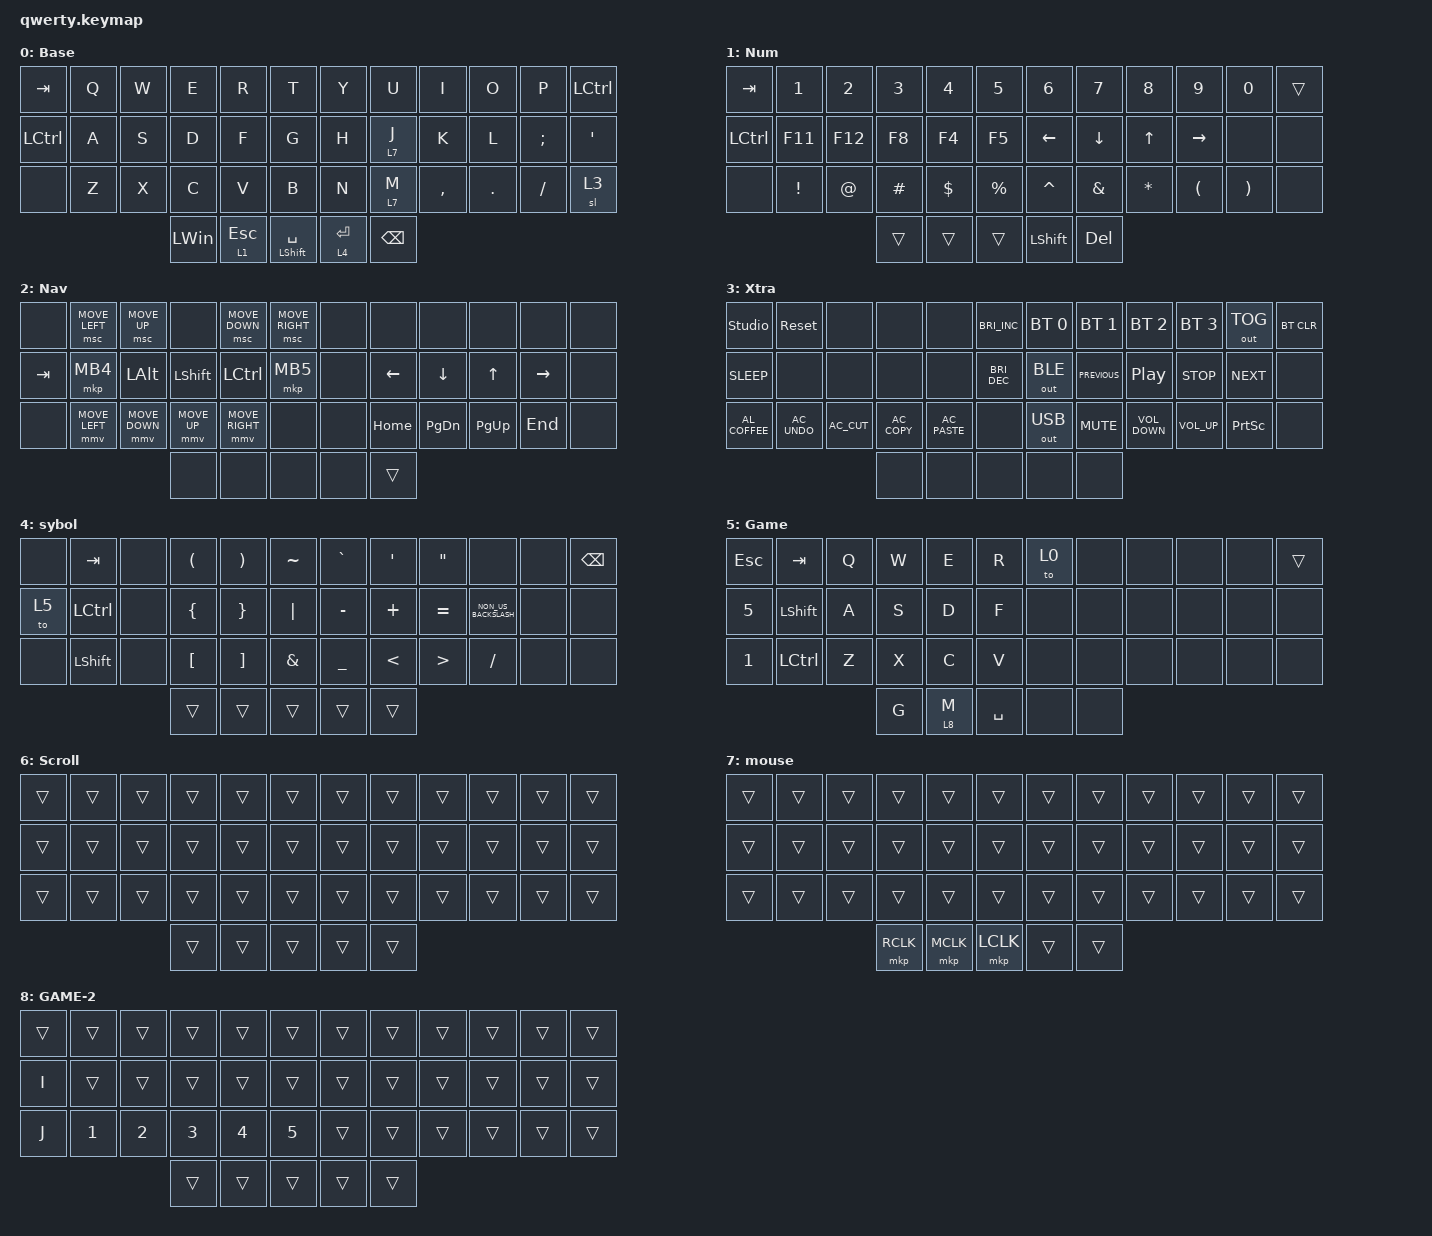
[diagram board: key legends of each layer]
/* upstream bindings and behaviors */

#include <dt-bindings/zmk/mouse.h>
#include <behaviors/mouse_keys.dtsi>
#include <behaviors.dtsi>
#include <dt-bindings/zmk/bt.h>
#include <dt-bindings/zmk/keys.h>
#include <dt-bindings/zmk/outputs.h>
#include <dt-bindings/zmk/pointing.h>

/* local overlays */

/ {
    /* --- KEYMAP CONFIG --- */
    // ╭──────┬──────┬──────┬──────┬──────┬──────╮  ╭──────┬──────┬──────┬──────┬──────┬──────╮
    //    00     01     02     03    04      05        06     07     08     09     10     11
    // ├──────┼──────┼──────┼──────┼──────┼──────┤  ├──────┼──────┼──────┼──────┼──────┼──────┤
    //    12     13     14     15    16      17        18     19     20     21     22     23
    // ├──────┼──────┼──────┼──────┼──────┼──────┤  ├──────┼──────┼──────┼──────┼──────┼──────┤
    //    24     25     26     27    28      29        30     31     32     33     34     35
    // ╰──────┴──────┴──────┼──────┼──────┼──────┤  ├──────┼──────┼──────┴──────┴──────┴──────╯
    //                         36     37     38        39     40
    //                      ╰──────┴──────┴──────╯  ╰──────┴──────╯
    // #define BASE    0
    // #define NUM     1
    // #define NAV     2
    // #define SYM     3
    // #define GAME    4
    // #define EXTRAS  5
    // #define SLOW    6
    // #define SCROLL  7
    // #define mouse   8

    #define KEYS_L 0 1 2 3 4 5 12 13 14 15 16 17 24 25 26 27 28 29 36 37 38 19 20 21 22  // Left-hand keys.
#define KEYS_R 6 7 8 9 10 11 18 19 20 21 22 23 30 31 32 33 34 35 39 40 16 15 14 13  // Right-hand keys.
#define THUMBS 36 37 38 39 40  // Thumb keys.
    behaviors {
        // ht_num_func: homerow_mod {
        //     compatible = "zmk,behavior-hold-tap";
        //     #binding-cells = <2>;
        //     flavor = "tap-preferred";
        //     tapping-term-ms = <260>; // triggers the hold behavior when the tapping-term-ms has expired
        //     quick-tap-ms = <220>; // If you press a tapped hold-tap again within quick-tap-ms milliseconds of the first press, it will always trigger the tap behavior.
        //     require-prior-idle-ms = <185>; // like quick-tap-ms however it will apply for any non-modifier key pressed before it
        //     bindings = <&kp>, <&kp>;  // hold, tap
        // };

        mm_f1: num_or_f1 {
            compatible = "zmk,behavior-mod-morph";
            #binding-cells = <0>;
            bindings = <&kp N1>, <&kp F1>;

            mods = <MOD_LSFT>;
        };

        mm_f2: num_or_f2 {
            compatible = "zmk,behavior-mod-morph";
            #binding-cells = <0>;
            bindings = <&kp N2>, <&kp F2>;

            mods = <MOD_LSFT>;
        };

        mm_f3: num_or_f3 {
            compatible = "zmk,behavior-mod-morph";
            #binding-cells = <0>;
            bindings = <&kp N3>, <&kp F3>;

            mods = <MOD_LSFT>;
        };

        mm_f4: num_or_f4 {
            compatible = "zmk,behavior-mod-morph";
            #binding-cells = <0>;
            bindings = <&kp N4>, <&kp F4>;

            mods = <MOD_LSFT>;
        };

        mm_f5: num_or_f5 {
            compatible = "zmk,behavior-mod-morph";
            #binding-cells = <0>;
            bindings = <&kp N5>, <&kp F5>;

            mods = <MOD_LSFT>;
        };

        mm_f6: num_or_f6 {
            compatible = "zmk,behavior-mod-morph";
            #binding-cells = <0>;
            bindings = <&kp N6>, <&kp F6>;

            mods = <MOD_LSFT>;
        };

        mm_f7: num_or_f7 {
            compatible = "zmk,behavior-mod-morph";
            #binding-cells = <0>;
            bindings = <&kp N7>, <&kp F7>;

            mods = <MOD_LSFT>;
        };

        mm_f8: num_or_f8 {
            compatible = "zmk,behavior-mod-morph";
            #binding-cells = <0>;
            bindings = <&kp N8>, <&kp F8>;

            mods = <MOD_LSFT>;
        };

        mm_f9: num_or_f9 {
            compatible = "zmk,behavior-mod-morph";
            #binding-cells = <0>;
            bindings = <&kp N9>, <&kp F9>;

            mods = <MOD_LSFT>;
        };

        mm_f10: pct_or_f10 {
            compatible = "zmk,behavior-mod-morph";
            #binding-cells = <0>;
            bindings = <&kp PRCNT>, <&kp F10>;

            mods = <MOD_LSFT>;
        };

        mm_f11: asterisk_or_f11 {
            compatible = "zmk,behavior-mod-morph";
            #binding-cells = <0>;
            bindings = <&kp ASTRK>, <&kp F11>;

            mods = <MOD_LSFT>;
        };

        mm_f12: dot_or_f12 {
            compatible = "zmk,behavior-mod-morph";
            #binding-cells = <0>;
            bindings = <&kp DOT>, <&kp F12>;

            mods = <MOD_LSFT>;
        };

        // Left-hand HRM

        ht_left: left_side_homerow_mod {
            compatible = "zmk,behavior-hold-tap";
            #binding-cells = <2>;
            flavor = "balanced";
            tapping-term-ms = <280>;
            quick-tap-ms = <160>;
            require-prior-idle-ms = <65>;
            retro-tap;
            bindings = <&kp>, <&kp>;

            hold-trigger-key-positions = <KEYS_R THUMBS>;
        };

        // Right-hand HRM

        ht_right: right_side_homerow_mod {
            compatible = "zmk,behavior-hold-tap";
            #binding-cells = <2>;
            flavor = "balanced";
            tapping-term-ms = <280>;
            quick-tap-ms = <160>;
            require-prior-idle-ms = <55>;
            retro-tap;
            bindings = <&kp>, <&kp>;

            hold-trigger-key-positions = <KEYS_L THUMBS>;
        };

        td_esc_scrl_slow: td_esc_scrl_slow {
            compatible = "zmk,behavior-tap-dance";
            #binding-cells = <0>;
            tapping-term-ms = <150>;
            bindings = <&lt 5 ESC>, <&mo 3>;

            // hold, tap, double_tap
        };

        lt_nav: nav_layer_tap {
            compatible = "zmk,behavior-hold-tap";
            #binding-cells = <2>;
            flavor = "tap-preferred";
            tapping-term-ms = <170>;
            bindings = <&mo>, <&kp>;
        };

        td_space_nav: td_space {
            compatible = "zmk,behavior-tap-dance";
            #binding-cells = <0>;
            tapping-term-ms = <110>;
            bindings = <&lt_nav 2 SPACE>, <&kp SPACE>;

            // hold, tap, double_tap
        };

        mo_clk: mo_click {
            compatible = "zmk,behavior-hold-tap";
            #binding-cells = <2>;
            flavor = "hold-preferred";
            tapping-term-ms = <40>;
            hold-while-undecided;
            bindings = <&mo>, <&mkp>;
        };

        td_clk: td_clk {
            compatible = "zmk,behavior-tap-dance";
            #binding-cells = <0>;
            tapping-term-ms = <170>;
            bindings = <&mo_clk 0 LCLK>, <&mkp LCLK>;

            // hold, tap, double_tap
        };

        mo_kp: mo_kp {
            compatible = "zmk,behavior-hold-tap";
            #binding-cells = <2>;
            flavor = "hold-preferred";
            tapping-term-ms = <40>;
            hold-while-undecided;
            bindings = <&mo>, <&kp>;
        };

        td_bs: td_bs {
            compatible = "zmk,behavior-tap-dance";
            #binding-cells = <0>;
            tapping-term-ms = <170>;
            bindings = <&mo_kp 1 BACKSPACE>, <&kp BACKSPACE>;

            // hold, tap, double_tap
        };

        httl: ht_two_layers {
            compatible = "zmk,behavior-hold-tap";
            bindings = <&mo>, <&to>;

            #binding-cells = <2>;
            flavor = "balanced";
            tapping-term-ms = <125>;
        };

        td_layers: td_layer_swap {
            compatible = "zmk,behavior-tap-dance";
            #binding-cells = <0>;
            bindings = <&to 0>, <&to 4>;

            // tap, double_tap
        };

        td_clk_scrl: td_click_or_scroll {
            compatible = "zmk,behavior-tap-dance";
            #binding-cells = <0>;
            tapping-term-ms = <250>;
            bindings = <&mkp RCLK>, <&mo 0>;

            // tap/hold, double_tap
        };

        td_bore: BASE_or_EXTRA {
            compatible = "zmk,behavior-tap-dance";
            #binding-cells = <0>;
            bindings = <&mo 0>, <&to 0>;
        };

        mm_qm_ex: question_exclamation {
            compatible = "zmk,behavior-mod-morph";
            #binding-cells = <0>;
            bindings = <&kp QUESTION>, <&kp EXCLAMATION>;

            mods = <(MOD_LSFT | MOD_RSFT)>;
        };

        mm_pr_col: period_colon {
            compatible = "zmk,behavior-mod-morph";
            #binding-cells = <0>;
            bindings = <&kp PERIOD>, <&kp COLON>;

            mods = <(MOD_LSFT | MOD_RSFT)>;
        };

        mm_cm_sc: comma_semi_colon {
            compatible = "zmk,behavior-mod-morph";
            #binding-cells = <0>;
            bindings = <&kp COMMA>, <&kp SEMICOLON>;

            mods = <(MOD_LSFT | MOD_RSFT)>;
        };
    };

    combos {
        compatible = "zmk,combos";

        CapsWord {
            bindings = <&caps_word>;
            key-positions = <17 18>;
            layers = <0>;
        };

        combo_left_click {
            bindings = <&mkp LCLK>;
            key-positions = <28 27>;
        };

        combo_middle_click {
            bindings = <&mkp MCLK>;
            key-positions = <26 25>;
        };

        combo_right_click {
            bindings = <&mkp RCLK>;
            key-positions = <26 27>;
        };

        alt {
            bindings = <&kp LEFT_ALT>;
            key-positions = <19 20>;
        };

        shift+alt {
            bindings = <&kp KP_ENTER>;
            key-positions = <39 38>;
        };

        combo_left_click_two {
            bindings = <&mkp LCLK>;
            key-positions = <31 32>;
        };

        combo_middle_click_two {
            bindings = <&mkp MCLK>;
            key-positions = <33 34>;
        };

        combo_right_click_two {
            bindings = <&mkp RCLK>;
            key-positions = <32 33>;
        };

        back_to_base_layer {
            bindings = <&to 0>;
            key-positions = <10 11>;
        };
    };

    keymap {
        compatible = "zmk,keymap";

        BASE {
            display-name = "Base";
            bindings = <
&kp TAB    &kp Q  &kp W  &kp E         &kp R         &kp T                   &kp Y        &kp U     &kp I      &kp O       &kp P          &kp LCTRL
&kp LCTRL  &kp A  &kp S  &kp D         &kp F         &kp G                   &kp H        &lt 7 J   &kp K      &kp L       &kp SEMICOLON  &kp SQT
&none      &kp Z  &kp X  &kp C         &kp V         &kp B                   &kp N        &lt 7 M   &kp COMMA  &kp PERIOD  &kp SLASH      &sl 3
                         &kp LEFT_WIN  &lt 1 ESCAPE  &mt LEFT_SHIFT SPACE    &lt 4 ENTER  &kp BSPC
            >;
        };

        NUM {
            display-name = "Num";
            bindings = <
&kp TAB    &kp NUMBER_1     &kp NUMBER_2  &kp NUMBER_3  &kp NUMBER_4  &kp N5         &kp NUMBER_6    &kp N7          &kp N8        &kp N9                &kp N0                 &trans
&kp LCTRL  &kp F11          &kp F12       &kp F8        &kp F4        &kp F5         &kp LEFT_ARROW  &kp DOWN_ARROW  &kp UP_ARROW  &kp RIGHT_ARROW       &none                  &none
&none      &kp EXCLAMATION  &kp AT_SIGN   &kp HASH      &kp DOLLAR    &kp PERCENT    &kp CARET       &kp AMPERSAND   &kp ASTERISK  &kp LEFT_PARENTHESIS  &kp RIGHT_PARENTHESIS  &none
                                          &trans        &trans        &trans         &kp LEFT_SHIFT  &kp DELETE
            >;
        };

        NAV {
            display-name = "Nav";
            bindings = <
&none    &msc MOVE_LEFT  &msc MOVE_UP    &none         &msc MOVE_DOWN   &msc MOVE_RIGHT    &none  &none           &none      &none      &none            &none
&kp TAB  &mkp MB4        &kp LALT        &kp LSHFT     &kp LCTRL        &mkp MB5           &none  &kp LEFT_ARROW  &kp DOWN   &kp UP     &kp RIGHT_ARROW  &none
&none    &mmv MOVE_LEFT  &mmv MOVE_DOWN  &mmv MOVE_UP  &mmv MOVE_RIGHT  &none              &none  &kp HOME        &kp PG_DN  &kp PG_UP  &kp END          &none
                                         &none         &none            &none              &none  &trans
            >;
        };

        EXTRAS {
            display-name = "Xtra";
            bindings = <
&studio_unlock   &sys_reset     &none         &none          &none           &kp C_BRIGHTNESS_INC    &bt BT_SEL 0  &bt BT_SEL 1    &bt BT_SEL 2       &bt BT_SEL 3     &out OUT_TOG     &bt BT_CLR
&kp C_SLEEP      &none          &none         &none          &none           &kp C_BRIGHTNESS_DEC    &out OUT_BLE  &kp C_PREVIOUS  &kp C_PLAY_PAUSE   &kp C_STOP       &kp C_NEXT       &none
&kp C_AL_COFFEE  &kp C_AC_UNDO  &kp C_AC_CUT  &kp C_AC_COPY  &kp C_AC_PASTE  &none                   &out OUT_USB  &kp K_MUTE      &kp C_VOLUME_DOWN  &kp C_VOLUME_UP  &kp PRINTSCREEN  &none
                                              &none          &none           &none                   &none         &none
            >;
        };

        SYM {
            display-name = "sybol";
            bindings = <
&none  &kp TAB    &none  &kp LEFT_PARENTHESIS  &kp RIGHT_PARENTHESIS  &kp TILDE    &kp GRAVE       &kp SQT        &kp DOUBLE_QUOTES  &none                 &none  &kp BACKSPACE
&to 5  &kp LCTRL  &none  &kp LEFT_BRACE        &kp RIGHT_BRACE        &kp PIPE     &kp MINUS       &kp PLUS       &kp EQUAL          &kp NON_US_BACKSLASH  &none  &none
&none  &kp LSHFT  &none  &kp LEFT_BRACKET      &kp RIGHT_BRACKET      &kp AMPS     &kp UNDERSCORE  &kp LESS_THAN  &kp GREATER_THAN   &kp SLASH             &none  &none
                         &trans                &trans                 &trans       &trans          &trans
            >;
        };

        GAME {
            display-name = "Game";
            bindings = <
&kp ESC  &kp TAB    &kp Q  &kp W  &kp E    &kp R        &to 0  &none  &none  &none  &none  &trans
&kp N5   &kp LSHFT  &kp A  &kp S  &kp D    &kp F        &none  &none  &none  &none  &none  &none
&kp N1   &kp LCTRL  &kp Z  &kp X  &kp C    &kp V        &none  &none  &none  &none  &none  &none
                           &kp G  &lt 8 M  &kp SPACE    &none  &none
            >;
        };

        SCROLL {
            display-name = "Scroll";
            bindings = <
&trans  &trans  &trans  &trans  &trans  &trans    &trans  &trans  &trans  &trans  &trans  &trans
&trans  &trans  &trans  &trans  &trans  &trans    &trans  &trans  &trans  &trans  &trans  &trans
&trans  &trans  &trans  &trans  &trans  &trans    &trans  &trans  &trans  &trans  &trans  &trans
                        &trans  &trans  &trans    &trans  &trans
            >;
        };

        mouse {
            bindings = <
&trans  &trans  &trans  &trans     &trans     &trans       &trans  &trans  &trans  &trans  &trans  &trans
&trans  &trans  &trans  &trans     &trans     &trans       &trans  &trans  &trans  &trans  &trans  &trans
&trans  &trans  &trans  &trans     &trans     &trans       &trans  &trans  &trans  &trans  &trans  &trans
                        &mkp RCLK  &mkp MCLK  &mkp LCLK    &trans  &trans
            >;
        };

        GAME-2 {
            bindings = <
&trans  &trans  &trans  &trans  &trans  &trans    &trans  &trans  &trans  &trans  &trans  &trans
&kp I   &trans  &trans  &trans  &trans  &trans    &trans  &trans  &trans  &trans  &trans  &trans
&kp J   &kp N1  &kp N2  &kp N3  &kp N4  &kp N5    &trans  &trans  &trans  &trans  &trans  &trans
                        &trans  &trans  &trans    &trans  &trans
            >;
        };
    };
};
